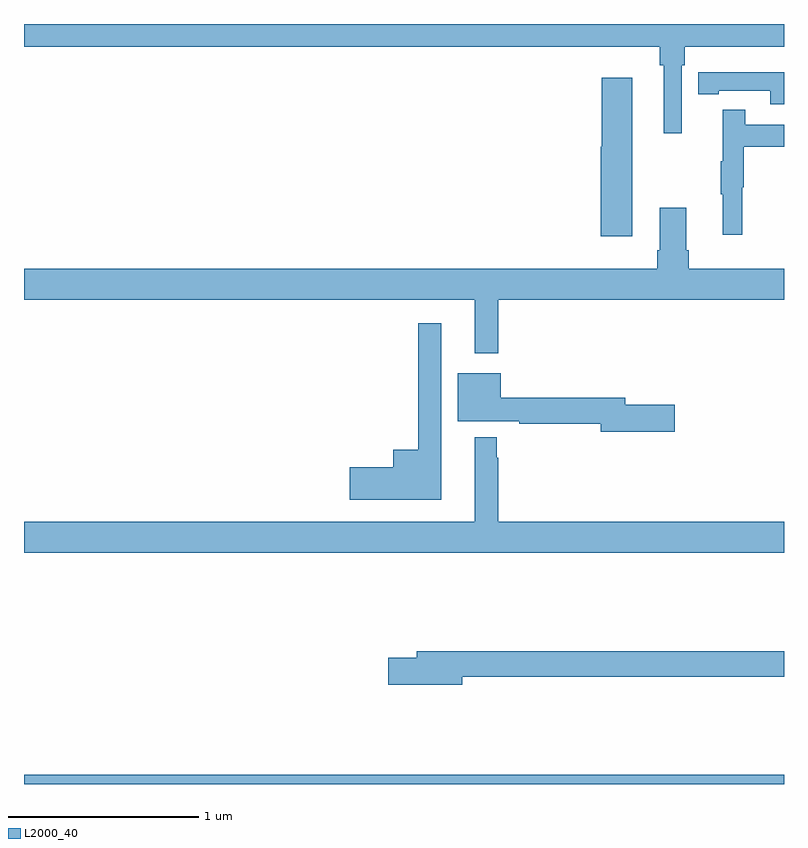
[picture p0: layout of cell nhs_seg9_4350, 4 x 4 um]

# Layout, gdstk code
import gdstk
lib = gdstk.Library(unit=1e-6, precision=1e-09)
def R(c, l, rs):  # rectangles x0, y0, x1, y1
    for r in rs: c.add(gdstk.rectangle(r[:2], r[2:], *l))
def P(c, l, *ps):  # polygons
    for p in ps: c.add(gdstk.Polygon(p, *l))
L2000_40 = (2000, 40)

nhs_seg9_4350 = lib.new_cell('nhs_seg9_4350')
R(nhs_seg9_4350, L2000_40, [(359,1232.5,363,1232.548)])
P(nhs_seg9_4350, L2000_40, [(362.463,1236.284),(362.477,1236.284),(362.477,1236.38),(363,1236.38),(363,1236.5),(359,1236.5),(359,1236.38),(362.347,1236.38),(362.347,1236.284),(362.366,1236.284),(362.366,1235.925),(362.463,1235.925)],
  [(363,1236.247),(362.656,1236.247),(362.656,1236.246),(362.548,1236.246),(362.548,1236.13),(362.656,1236.13),(362.656,1236.15),(362.928,1236.15),(362.928,1236.078),(363,1236.078)],
  [(362.2,1236.217),(362.042,1236.217),(362.042,1235.853),(362.036,1235.853),(362.036,1235.382),(362.2,1235.382)],
  [(362.78,1235.64),(362.788,1235.64),(362.788,1235.854),(363,1235.854),(363,1235.97),(362.795,1235.97),(362.795,1236.049),(362.678,1236.049),(362.678,1235.777),(362.667,1235.777),(362.667,1235.603),(362.678,1235.603),(362.678,1235.391),(362.78,1235.391)],
  [(361.495,1235.048),(363,1235.048),(363,1235.212),(362.498,1235.212),(362.498,1235.308),(362.485,1235.308),(362.485,1235.533),(362.345,1235.533),(362.345,1235.308),(362.333,1235.308),(362.333,1235.212),(359,1235.212),(359,1235.048),(361.373,1235.048),(361.373,1234.767),(361.495,1234.767)],
  [(361.195,1234.924),(361.074,1234.924),(361.074,1234.258),(360.944,1234.258),(360.944,1234.166),(360.714,1234.166),(360.714,1233.995),(361.195,1233.995)],
  [(362.425,1234.496),(362.164,1234.496),(362.164,1234.532),(361.51,1234.532),(361.51,1234.663),(361.283,1234.663),(361.283,1234.409),(361.606,1234.409),(361.606,1234.396),(362.036,1234.396),(362.036,1234.354),(362.425,1234.354)],
  [(363,1233.88),(361.495,1233.88),(361.495,1234.217),(361.488,1234.217),(361.488,1234.324),(361.373,1234.324),(361.373,1233.88),(359,1233.88),(359,1233.716),(363,1233.716)],
  [(361.306,1233.064),(363,1233.064),(363,1233.2),(361.067,1233.2),(361.067,1233.164),(360.918,1233.164),(360.918,1233.022),(361.306,1233.022)])

lib.write_gds('nhs_seg9_4350.gds')
